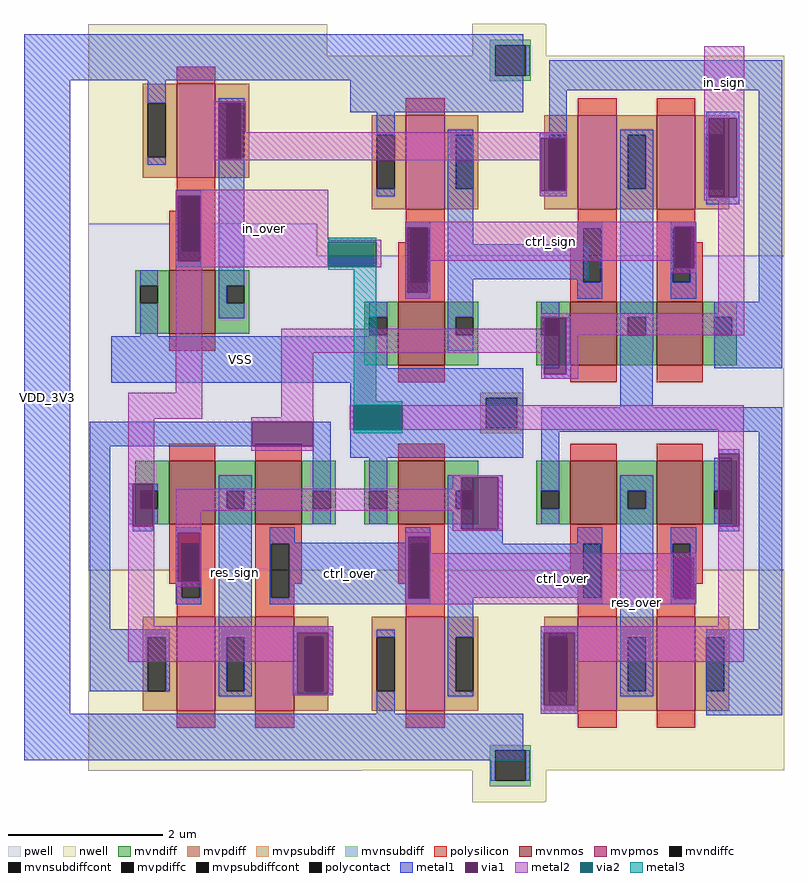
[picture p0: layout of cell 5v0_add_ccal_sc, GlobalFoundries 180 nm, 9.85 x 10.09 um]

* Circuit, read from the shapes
.subckt 5v0_add_ccal_sc res_sign res_over ctrl_over ctrl_sign in_sign in_over VSS VDD_3V3
XM1 res_sign n1 in_over VSS nfet_06v0 w=0.82u l=0.6u
XM2 n2 in_over VSS VSS nfet_06v0 w=0.82u l=0.6u
XM3 in_sign ctrl_over res_sign VSS nfet_06v0 w=0.82u l=0.6u
XM4 n1 ctrl_over VSS VSS nfet_06v0 w=0.82u l=0.6u
XM5 n3 ctrl_sign VSS VSS nfet_06v0 w=0.82u l=0.6u
XM6 res_over n1 n4 VSS nfet_06v0 w=0.82u l=0.6u
XM7 n4 n3 in_sign VSS nfet_06v0 w=0.82u l=0.6u
XM8 in_over ctrl_over res_over VSS nfet_06v0 w=0.82u l=0.6u
XM9 n2 ctrl_sign n4 VSS nfet_06v0 w=0.82u l=0.6u
XM10 res_sign n1 in_sign VDD_3V3 pfet_06v0 w=1.22u l=0.5u
XM11 n2 in_over VDD_3V3 VDD_3V3 pfet_06v0 w=1.22u l=0.5u
XM12 in_over ctrl_over res_sign VDD_3V3 pfet_06v0 w=1.22u l=0.5u
XM13 n1 ctrl_over VDD_3V3 VDD_3V3 pfet_06v0 w=1.22u l=0.5u
XM14 n3 ctrl_sign VDD_3V3 VDD_3V3 pfet_06v0 w=1.22u l=0.5u
XM15 res_over n1 in_over VDD_3V3 pfet_06v0 w=1.22u l=0.5u
XM16 n4 n3 n2 VDD_3V3 pfet_06v0 w=1.22u l=0.5u
XM17 n4 ctrl_over res_over VDD_3V3 pfet_06v0 w=1.22u l=0.5u
XM18 in_sign ctrl_sign n4 VDD_3V3 pfet_06v0 w=1.22u l=0.5u
.ends

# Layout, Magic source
magic
tech gf180mcuD
magscale 1 10
<< nwell >>
rect -1184 -633 -533 -576
rect -1184 -1095 -475 -633
<< pwell >>
rect -1184 -576 -533 -116
<< mvnmos >>
rect -974 -456 -854 -292
rect -750 -456 -630 -292
<< mvpmos >>
rect -954 -940 -854 -696
rect -750 -940 -650 -696
<< mvndiff >>
rect -1062 -370 -974 -292
rect -1062 -416 -1049 -370
rect -1003 -416 -974 -370
rect -1062 -456 -974 -416
rect -854 -370 -750 -292
rect -854 -416 -825 -370
rect -779 -416 -750 -370
rect -854 -456 -750 -416
rect -630 -370 -542 -292
rect -630 -416 -601 -370
rect -555 -416 -542 -370
rect -630 -456 -542 -416
<< mvpdiff >>
rect -1042 -749 -954 -696
rect -1042 -889 -1029 -749
rect -983 -889 -954 -749
rect -1042 -940 -954 -889
rect -854 -749 -750 -696
rect -854 -889 -825 -749
rect -779 -889 -750 -749
rect -854 -940 -750 -889
rect -650 -749 -562 -696
rect -650 -889 -621 -749
rect -575 -889 -562 -749
rect -650 -940 -562 -889
<< mvndiffc >>
rect -1049 -416 -1003 -370
rect -825 -416 -779 -370
rect -601 -416 -555 -370
<< mvpdiffc >>
rect -1029 -889 -983 -749
rect -825 -889 -779 -749
rect -621 -889 -575 -749
<< mvpsubdiff >>
rect -168 -129 -56 -116
rect -168 -207 -153 -129
rect -71 -207 -56 -129
rect -168 -220 -56 -207
<< mvpsubdiffcont >>
rect -153 -207 -71 -129
<< polysilicon >>
rect -974 -292 -854 -248
rect -750 -292 -630 -248
rect -974 -507 -854 -456
rect -974 -610 -941 -507
rect -954 -647 -941 -610
rect -895 -647 -854 -507
rect -954 -696 -854 -647
rect -750 -507 -630 -456
rect -750 -647 -709 -507
rect -663 -610 -630 -507
rect -663 -647 -650 -610
rect -750 -696 -650 -647
rect -954 -984 -854 -940
rect -750 -984 -650 -940
<< polycontact >>
rect -941 -647 -895 -507
rect -709 -647 -663 -507
<< metal1 >>
rect -1350 694 -56 814
rect -1350 -948 -1230 694
rect -504 612 -56 694
rect 11 669 616 747
rect 11 560 57 669
rect -13 553 57 560
rect 419 596 504 613
rect -251 406 -185 550
rect -13 544 56 553
rect -13 408 -11 544
rect 54 408 56 544
rect -13 394 56 408
rect 419 391 425 596
rect 497 391 504 596
rect 419 373 504 391
rect -362 179 -357 269
rect -239 179 113 269
rect 555 120 616 669
rect -2 79 68 80
rect -1124 -52 -410 31
rect -1124 -90 -56 -52
rect 56 -67 68 79
rect -2 -79 68 -67
rect -504 -129 -56 -90
rect -1180 -254 -758 -191
rect -1180 -729 -1126 -254
rect -602 -292 -555 -191
rect -504 -207 -153 -129
rect -71 -207 -56 -129
rect 195 -153 280 34
rect 439 -52 616 120
rect -504 -284 -56 -207
rect -9 -216 616 -153
rect -9 -292 38 -216
rect 451 -274 504 -262
rect -1080 -456 -1068 -352
rect -1015 -370 -1003 -352
rect -1015 -456 -1003 -416
rect -845 -370 -759 -330
rect -845 -416 -825 -370
rect -779 -416 -759 -370
rect -1068 -474 -1015 -462
rect -956 -478 -891 -464
rect -956 -606 -951 -478
rect -956 -647 -941 -606
rect -895 -647 -891 -478
rect -956 -664 -891 -647
rect -1180 -749 -972 -729
rect -1180 -889 -1029 -749
rect -983 -889 -972 -749
rect -845 -749 -759 -416
rect -601 -370 -555 -292
rect -204 -334 -109 -330
rect -601 -456 -555 -416
rect -713 -504 -648 -464
rect -244 -469 -217 -342
rect -121 -469 -109 -334
rect -354 -489 -300 -481
rect -713 -507 -354 -504
rect -713 -647 -709 -507
rect -663 -647 -354 -507
rect -713 -650 -354 -647
rect -244 -507 -109 -469
rect 90 -507 144 -478
rect -244 -517 145 -507
rect -240 -647 145 -517
rect -713 -664 -326 -650
rect -845 -889 -825 -749
rect -779 -889 -759 -749
rect -845 -902 -759 -889
rect -654 -738 -549 -721
rect -654 -896 -642 -738
rect -561 -896 -549 -738
rect -10 -738 86 -721
rect -10 -925 -3 -738
rect 78 -925 86 -738
rect 195 -902 281 -416
rect 451 -474 504 -462
rect 555 -729 616 -216
rect -10 -948 86 -925
rect -1350 -1068 -56 -948
rect 419 -952 616 -729
<< via1 >>
rect -845 490 -787 636
rect -11 408 54 544
rect -951 226 -893 395
rect 425 391 497 596
rect -357 144 -303 313
rect -2 -67 56 79
rect -758 -254 -602 -191
rect -1068 -370 -1015 -352
rect -1068 -416 -1049 -370
rect -1049 -416 -1015 -370
rect -1068 -462 -1015 -416
rect -951 -507 -895 -478
rect -951 -606 -941 -507
rect -941 -606 -895 -507
rect -217 -469 -121 -334
rect -354 -650 -300 -489
rect -642 -749 -561 -738
rect -642 -889 -621 -749
rect -621 -889 -575 -749
rect -575 -889 -561 -749
rect -642 -896 -561 -889
rect -3 -925 78 -738
rect 451 -462 504 -274
<< metal2 >>
rect -857 636 -775 640
rect -857 490 -845 636
rect -787 560 -775 636
rect 413 596 517 783
rect -787 544 57 560
rect -787 490 -11 544
rect -857 487 -11 490
rect -956 395 -562 411
rect -956 226 -951 395
rect -893 281 -562 395
rect -13 408 -11 487
rect 54 408 57 544
rect -13 394 57 408
rect 413 391 425 596
rect 497 391 517 596
rect 413 384 517 391
rect -362 313 336 328
rect -893 276 -424 281
rect -893 226 -562 276
rect -956 213 -562 226
rect -437 213 -424 276
rect -956 210 -424 213
rect -956 -116 -888 210
rect -362 144 -357 313
rect -303 227 336 313
rect -303 144 -297 227
rect -362 128 -297 144
rect 450 91 517 384
rect -9 79 517 91
rect -9 51 -2 79
rect -1080 -183 -888 -116
rect -683 -12 -2 51
rect -683 -179 -600 -12
rect -9 -67 -2 -12
rect 56 34 517 79
rect 56 -67 87 34
rect -9 -79 87 -67
rect -1080 -352 -1013 -183
rect -761 -191 -599 -179
rect -761 -254 -758 -191
rect -602 -254 -599 -191
rect -505 -211 -495 -148
rect -370 -211 516 -148
rect -761 -266 -599 -254
rect 449 -274 516 -211
rect -1080 -462 -1068 -352
rect -1015 -462 -1013 -352
rect -238 -334 -109 -329
rect -238 -365 -217 -334
rect -1080 -721 -1013 -462
rect -956 -421 -217 -365
rect -956 -478 -891 -421
rect -238 -469 -217 -421
rect -121 -469 -109 -334
rect -238 -473 -109 -469
rect 449 -462 451 -274
rect 504 -462 516 -274
rect -956 -606 -951 -478
rect -895 -606 -891 -478
rect -956 -618 -891 -606
rect -362 -489 -296 -477
rect -362 -650 -354 -489
rect -300 -531 -296 -489
rect -300 -650 393 -531
rect -362 -664 393 -650
rect 449 -721 516 -462
rect -1080 -738 -549 -721
rect -1080 -813 -642 -738
rect -654 -896 -642 -813
rect -561 -896 -549 -738
rect -11 -738 516 -721
rect -11 -813 -3 -738
rect -654 -899 -549 -896
rect -10 -925 -3 -813
rect 78 -813 516 -738
rect 78 -925 86 -813
rect -10 -948 86 -925
<< via2 >>
rect -562 213 -437 276
rect -495 -211 -370 -148
<< metal3 >>
rect -562 276 -437 286
rect -562 203 -437 213
rect -495 -138 -437 203
rect -495 -148 -370 -138
rect -495 -221 -370 -211
use tgate_custom_nowell  5v0_tgate_sel_2_sc_0
transform 1 0 0 0 1 0
box -590 -198 620 841
use tgate_custom_nowell  5v0_tgate_sel_2_sc_1
transform 1 0 0 0 -1 -336
box -590 -198 620 841
use not_internalz  not_internal_0
transform 1 0 -1098 0 1 -30
box -86 -86 534 870
<< labels >>
rlabel metal1 -845 -749 -759 -416 1 res_sign
port 1 n signal bidirectional
rlabel metal1 195 -902 281 -416 1 res_over
port 2 n signal bidirectional
rlabel metal1 -663 -664 -347 -504 1 ctrl_over
port 3 n signal bidirectional
rlabel metal2 -300 -664 393 -531 1 ctrl_over
port 3 n signal bidirectional
rlabel metal2 -303 227 336 328 1 ctrl_sign
port 4 n signal bidirectional
rlabel metal2 413 596 517 783 1 in_sign
port 5 n signal bidirectional
rlabel metal2 -893 210 -562 411 1 in_over
port 6 n signal bidirectional
rlabel metal1 -1124 -90 -455 31 1 VSS
port 7 n ground bidirectional
rlabel metal1 -1350 -1068 -1230 814 1 VDD_3V3
port 8 n power bidirectional
<< end >>

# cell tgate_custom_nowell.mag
magic
tech gf180mcuD
magscale 1 10
<< nwell >>
rect -188 840 0 841
rect -188 734 4 840
rect -184 733 4 734
rect -168 724 -26 733
<< mvnsubdiff >>
rect -143 785 -36 800
rect -143 706 -129 785
rect -50 706 -36 785
rect -143 693 -36 706
<< mvnsubdiffcont >>
rect -129 706 -50 785
<< metal1 >>
rect -140 732 -129 785
rect -504 706 -129 732
rect -50 706 -39 785
rect -504 612 -56 706
rect -249 167 -185 289
rect 84 207 91 289
rect 144 207 147 289
rect 195 207 280 566
rect -504 -172 -169 -52
<< via1 >>
rect 334 207 387 315
<< metal2 >>
rect 326 315 393 328
rect 326 207 334 315
rect 387 207 393 315
rect 326 194 393 207
use half_gate_0  gf180mcu_fd_sc_mcu7t5v0__inv_1_0 /home/eclipse
transform 1 0 -58 0 1 -112
box -86 -86 534 870
use half_gate_0  half_tgate_0
transform -1 0 534 0 1 -112
box -86 -86 534 870
use not_internal_mod  not_internal_0 /home/eclipse
transform 1 0 -504 0 1 -112
box -86 -86 534 870
<< labels >>
rlabel metal1 -504 612 -56 732 1 VDD_3V3
port 6 n power bidirectional
rlabel space -251 80 -185 413 1 not_test
port 7 n signal output
rlabel metal2 50 385 86 647 1 input_A
port 1 n signal bidirectional
rlabel metal1 -504 -172 -169 -52 1 VSS
port 4 n ground bidirectional
<< end >>

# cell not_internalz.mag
magic
tech gf180mcuD
magscale 1 10
<< nwell >>
rect -86 352 534 870
<< pwell >>
rect -86 270 507 352
rect -86 -86 534 270
<< mvnmos >>
rect 124 68 244 232
<< mvpmos >>
rect 144 472 244 716
<< mvndiff >>
rect 36 192 124 232
rect 36 146 49 192
rect 95 146 124 192
rect 36 68 124 146
rect 244 192 332 232
rect 244 146 273 192
rect 319 146 332 192
rect 244 68 332 146
<< mvpdiff >>
rect 56 665 144 716
rect 56 525 69 665
rect 115 525 144 665
rect 56 472 144 525
rect 244 665 332 716
rect 244 525 273 665
rect 319 525 332 665
rect 244 472 332 525
<< mvndiffc >>
rect 49 146 95 192
rect 273 146 319 192
<< mvpdiffc >>
rect 69 525 115 665
rect 273 525 319 665
<< polysilicon >>
rect 144 716 244 760
rect 144 423 244 472
rect 144 386 157 423
rect 124 283 157 386
rect 203 283 244 423
rect 124 232 244 283
rect 124 24 244 68
<< polycontact >>
rect 157 283 203 423
<< metal1 >>
rect 0 724 448 844
rect 69 665 115 724
rect 69 506 115 525
rect 253 665 319 678
rect 253 525 273 665
rect 142 423 207 440
rect 142 283 157 423
rect 203 283 207 423
rect 142 240 207 283
rect 49 192 95 232
rect 49 60 95 146
rect 253 192 319 525
rect 253 146 273 192
rect 253 107 319 146
rect 0 -60 448 60
<< properties >>
string FIXED_BBOX 0 0 448 784
string GDS_END 476332
string GDS_FILE $PDKPATH/libs.ref/gf180mcu_fd_sc_mcu7t5v0/gds/gf180mcu_fd_sc_mcu7t5v0.gds
string GDS_START 474136
string LEFclass core
string LEFsite GF018hv5v_mcu_sc7
string LEFsymmetry X Y
<< end >>

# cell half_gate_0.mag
magic
tech gf180mcuD
magscale 1 10
<< nwell >>
rect -86 352 534 870
<< pwell >>
rect -86 -86 534 352
<< mvnmos >>
rect 124 68 244 232
<< mvpmos >>
rect 144 472 244 716
<< mvndiff >>
rect 36 192 124 232
rect 36 146 49 192
rect 95 146 124 192
rect 36 68 124 146
rect 244 192 332 232
rect 244 146 273 192
rect 319 146 332 192
rect 244 68 332 146
<< mvpdiff >>
rect 56 665 144 716
rect 56 525 69 665
rect 115 525 144 665
rect 56 472 144 525
rect 244 665 332 716
rect 244 525 273 665
rect 319 525 332 665
rect 244 472 332 525
<< mvndiffc >>
rect 49 146 95 192
rect 273 146 319 192
<< mvpdiffc >>
rect 69 525 115 665
rect 273 525 319 665
<< polysilicon >>
rect 144 716 244 760
rect 144 423 244 472
rect 144 386 157 423
rect 124 283 157 386
rect 203 283 244 423
rect 124 232 244 283
rect 124 24 244 68
<< polycontact >>
rect 157 283 203 423
<< metal1 >>
rect 69 665 115 724
rect 69 506 115 525
rect 253 665 319 678
rect 253 525 273 665
rect 142 423 207 440
rect 142 283 157 423
rect 203 283 207 423
rect 142 240 207 283
rect 49 192 95 232
rect 49 60 95 146
rect 253 192 319 525
rect 253 146 273 192
rect 253 106 319 146
<< properties >>
string FIXED_BBOX 0 0 448 784
string GDS_END 476332
string GDS_FILE $PDKPATH/libs.ref/gf180mcu_fd_sc_mcu7t5v0/gds/gf180mcu_fd_sc_mcu7t5v0.gds
string GDS_START 474136
string LEFclass core
string LEFsite GF018hv5v_mcu_sc7
string LEFsymmetry X Y
<< end >>

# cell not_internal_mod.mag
magic
tech gf180mcuD
magscale 1 10
<< nwell >>
rect -86 352 534 870
<< pwell >>
rect -86 -86 534 352
<< mvnmos >>
rect 124 68 244 232
<< mvpmos >>
rect 144 472 244 716
<< mvndiff >>
rect 36 192 124 232
rect 36 146 49 192
rect 95 146 124 192
rect 36 68 124 146
rect 244 192 332 232
rect 244 146 273 192
rect 319 146 332 192
rect 244 68 332 146
<< mvpdiff >>
rect 56 665 144 716
rect 56 525 69 665
rect 115 525 144 665
rect 56 472 144 525
rect 244 665 332 716
rect 244 525 273 665
rect 319 525 332 665
rect 244 472 332 525
<< mvndiffc >>
rect 49 146 95 192
rect 273 146 319 192
<< mvpdiffc >>
rect 69 525 115 665
rect 273 525 319 665
<< polysilicon >>
rect 144 716 244 760
rect 144 423 244 472
rect 144 386 157 423
rect 124 283 157 386
rect 203 283 244 423
rect 124 232 244 283
rect 124 24 244 68
<< polycontact >>
rect 157 283 203 423
<< metal1 >>
rect 0 724 448 844
rect 69 665 115 724
rect 69 506 115 525
rect 253 665 319 678
rect 253 525 273 665
rect 142 423 207 440
rect 142 283 157 423
rect 203 283 207 423
rect 142 240 207 283
rect 49 192 95 232
rect 49 60 95 146
rect 253 192 319 525
rect 253 146 273 192
rect 253 106 319 146
rect 0 -60 448 60
<< properties >>
string FIXED_BBOX 0 0 448 784
string GDS_END 476332
string GDS_FILE $PDKPATH/libs.ref/gf180mcu_fd_sc_mcu7t5v0/gds/gf180mcu_fd_sc_mcu7t5v0.gds
string GDS_START 474136
string LEFclass core
string LEFsite GF018hv5v_mcu_sc7
string LEFsymmetry X Y
<< end >>
